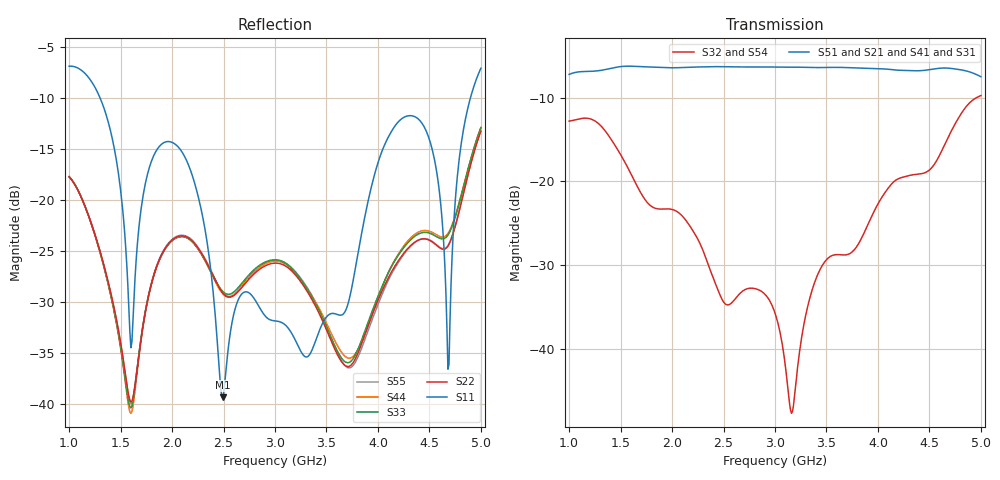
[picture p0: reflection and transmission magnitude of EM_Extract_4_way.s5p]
! AWR Design Environment (19377) Sat Dec 27 02:21:50 2025
! Document = 'EM_Extract_4_way'
! nPorts: 5, nXvals: 401
# GHz S DB R 50
!Freq DBS11 AngS11 DBS12 AngS12 DBS13 AngS13 DBS14 AngS14
!	DBS15 AngS15
!	DBS21 AngS21 DBS22 AngS22 DBS23 AngS23 DBS24 AngS24
!	DBS25 AngS25
!	DBS31 AngS31 DBS32 AngS32 DBS33 AngS33 DBS34 AngS34
!	DBS35 AngS35
!	DBS41 AngS41 DBS42 AngS42 DBS43 AngS43 DBS44 AngS44
!	DBS45 AngS45
!	DBS51 AngS51 DBS52 AngS52 DBS53 AngS53 DBS54 AngS54
!	DBS55 AngS55
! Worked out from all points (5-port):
!   401 points, 1 GHz to 5 GHz, reference 50 ohm
!   strongest paths, dB at 1 GHz, 2 GHz, 3 GHz, 4 GHz, 5 GHz:
!     S51: -7.2, -6.4, -6.3, -6.5, -7.5
!     S21: -7.2, -6.4, -6.3, -6.5, -7.5
!     S41: -7.2, -6.4, -6.4, -6.6, -7.6
!     S31: -7.2, -6.4, -6.4, -6.6, -7.6
!     S32: -12.8, -23.3, -35.7, -22.7, -9.7
!     S54: -12.8, -23.3, -35.9, -22.8, -9.7
!   lowest |S11| = -39.4 dB at 2.49 GHz (marker M1), VSWR 1.02, Z = 49.4 + j0.853 ohm
!   |S11| at or under -10 dB: 1.301 GHz to 4.898 GHz (3.598 GHz wide, 116 % of centre)
